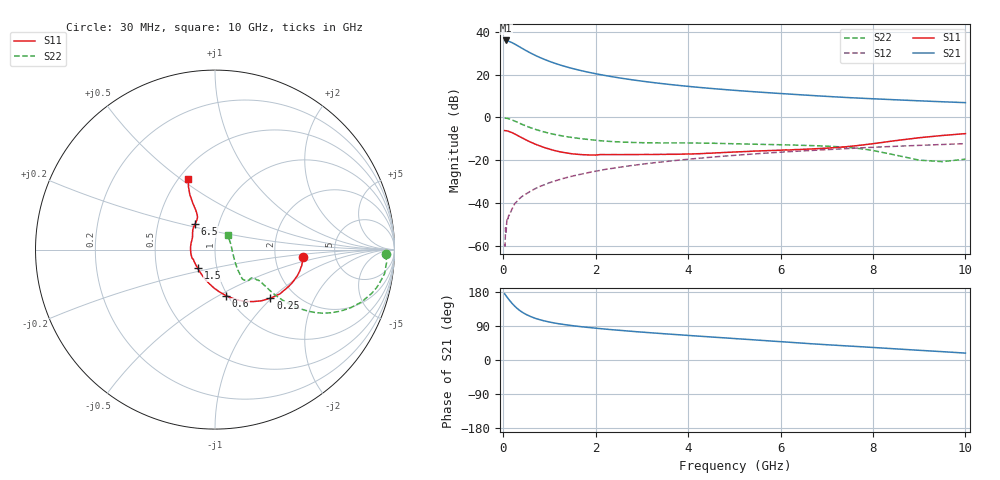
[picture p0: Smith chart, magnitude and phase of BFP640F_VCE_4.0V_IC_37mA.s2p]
! Infineon Technologies  Discrete & RF Semiconductors
! BFP640F
! VCE =  4.0 V,  IC =  37 mA
! Common Emitter S-Parameters:  Apr 2013
# GHz  S  MA  R  50
!  f  S11  S21  S12  S22
! GHz  MAG  ANG  MAG  ANG  MAG  ANG  MAG  ANG
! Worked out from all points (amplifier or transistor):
!   99 points, 30 MHz to 10 GHz, reference 50 ohm
!   highest |S21| = 35.9 dB at 50 MHz (marker M1)
!   |S21| within 3 dB of that: start of sweep to 355 MHz
!   unconditionally stable (mu >= 1): 1.648 GHz to end of sweep
!   at 350 MHz: K = 0.56, MSG = 35.4 dB, |S12| = -37.9 dB
!   at 3.5 GHz: K = 1.06, MAG = 16.6 dB, |S12| = -20.6 dB
!   at 10 GHz: K = 1.04, MAG = 8.3 dB, |S12| = -12.2 dB
!   S11 on the Smith chart (normalised r, x): 30 MHz: 2.90, -0.32; 250 MHz: 1.51, -0.98; 600 MHz: 0.98, -0.54; 1.5 GHz: 0.81, -0.17; 6.5 GHz: 0.77, +0.23; 10 GHz: 0.56, +0.53
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0.03  0.4927 -4.9  62.18 174.7  0.0011 91.6  0.9536 -1.6
0.05  0.4914 -8.8  62.19 171.5  0.0027 72.0  0.9589 -4.3
0.09  0.4831 -16.3  60.79 164.7  0.0046 82.6  0.9478 -9.1
0.15  0.4591 -26.5  57.82 155.3  0.0059 72.5  0.9084 -15.4
0.2  0.438 -34.2  54.6 148.2  0.0077 73.1  0.8669 -19.7
0.25  0.4105 -41.3  51.16 141.9  0.0098 76.1  0.8214 -23.3
0.3  0.3854 -47.7  47.71 136.3  0.0111 76.1  0.7776 -26.2
0.4  0.3378 -59.0  41.26 127.0  0.0142 73.3  0.6958 -30.6
0.5  0.2973 -68.2  35.78 119.9  0.0166 73.8  0.6273 -33.3
0.6  0.2636 -76.6  31.34 114.3  0.0194 74.1  0.5716 -35.0
0.7  0.2368 -84.0  27.71 109.7  0.0221 73.8  0.5257 -36.0
0.9  0.1968 -97.7  22.31 102.9  0.0272 73.7  0.4544 -36.9
1.2  0.1607 -116.0  17.09 95.7  0.0352 72.8  0.3843 -36.7
1.5  0.1415 -132.6  13.8 90.6  0.043 72.0  0.3397 -35.8
1.7  0.1359 -142.7  12.23 87.7  0.048 71.5  0.3183 -35.2
2.4  0.1361 -169.2  8.732 79.5  0.0659 68.3  0.2726 -36.2
3.4  0.138 165.6  6.203 70.0  0.0911 63.5  0.2548 -39.7
5.1  0.1578 142.2  4.206 55.8  0.133 54.8  0.2423 -45.2
6.5  0.1808 127.8  3.335 44.3  0.1663 46.8  0.2233 -47.0
6.7  0.185 125.4  3.235 42.6  0.1708 45.7  0.22 -46.9
8.5  0.2891 115.5  2.574 29.3  0.2127 35.5  0.1319 -32.0
10  0.4194 110.7  2.211 18.2  0.2453 26.7  0.1066 48.4
